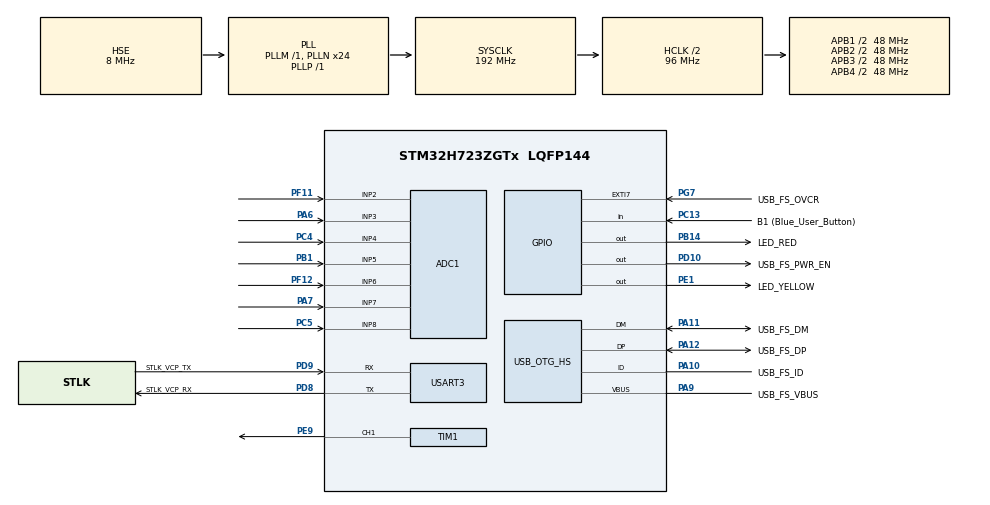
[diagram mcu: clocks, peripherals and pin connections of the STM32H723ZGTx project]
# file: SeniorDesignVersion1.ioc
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ADC1.Channel-0\#ChannelRegularConversion=ADC_CHANNEL_2
ADC1.NbrOfConversionFlag=1
ADC1.OffsetNumber-0\#ChannelRegularConversion=ADC_OFFSET_NONE
ADC1.OffsetSignedSaturation-0\#ChannelRegularConversion=DISABLE
ADC1.Rank-0\#ChannelRegularConversion=1
ADC1.SamplingTime-0\#ChannelRegularConversion=ADC_SAMPLETIME_1CYCLE_5
ADC1.master=1
Mcu.Family=STM32H7
Mcu.Name=STM32H723ZGTx
Mcu.Package=LQFP144
NVIC.PriorityGroup=NVIC_PRIORITYGROUP_4
PA10.GPIO_Label=USB_FS_ID
PA10.Mode=OTG/Dual-Role-Device-FS
PA10.Signal=USB_OTG_HS_ID
PA11.GPIO_Label=USB_FS_DM
PA11.Mode=OTG/Dual-Role-Device-FS
PA11.Signal=USB_OTG_HS_DM
PA12.GPIO_Label=USB_FS_DP
PA12.Mode=OTG/Dual-Role-Device-FS
PA12.Signal=USB_OTG_HS_DP
PA13(JTMS/SWDIO).GPIO_Label=SWDIO
PA13(JTMS/SWDIO).Mode=Trace_Asynchronous_SW
PA13(JTMS/SWDIO).Signal=DEBUG_JTMS-SWDIO
PA14(JTCK/SWCLK).GPIO_Label=SWCLK
PA14(JTCK/SWCLK).Mode=Trace_Asynchronous_SW
PA14(JTCK/SWCLK).Signal=DEBUG_JTCK-SWCLK
PA6.Signal=ADCx_INP3
PA7.Signal=ADCx_INP7
PA9.GPIO_Label=USB_FS_VBUS
PA9.Mode=Activate_VBUS_FS
PA9.Signal=USB_OTG_HS_VBUS
PB1.Signal=ADCx_INP5
PB14.GPIO_Label=LED_RED
PB14.Signal=GPIO_Output
PB3(JTDO/TRACESWO).GPIO_Label=SWO
PB3(JTDO/TRACESWO).Mode=Trace_Asynchronous_SW
PB3(JTDO/TRACESWO).Signal=DEBUG_JTDO-SWO
PC13.GPIO_Label=B1 (Blue_User_Button)
PC13.Signal=GPIO_Input
PC14-OSC32_IN.Mode=LSE-External-Oscillator
PC14-OSC32_IN.Signal=RCC_OSC32_IN
PC15-OSC32_OUT.Mode=LSE-External-Oscillator
PC15-OSC32_OUT.Signal=RCC_OSC32_OUT
PC4.Signal=ADCx_INP4
PC5.Signal=ADCx_INP8
PD10.GPIO_Label=USB_FS_PWR_EN
PD10.Signal=GPIO_Output
PD8.GPIO_Label=STLK_VCP_RX
PD8.Mode=Asynchronous
PD8.Signal=USART3_TX
PD9.GPIO_Label=STLK_VCP_TX
PD9.Mode=Asynchronous
PD9.Signal=USART3_RX
PE1.GPIO_Label=LED_YELLOW
PE1.Signal=GPIO_Output
PE9.Signal=S_TIM1_CH1
PF11.Mode=IN2-Single-Ended
PF11.Signal=ADC1_INP2
PF12.Mode=IN6-Single-Ended
PF12.Signal=ADC1_INP6
PG7.GPIO_Label=USB_FS_OVCR
PG7.Signal=GPXTI7
PH0-OSC_IN.GPIO_Label=MCO
PH0-OSC_IN.Mode=HSE-External-Oscillator
PH0-OSC_IN.Signal=RCC_OSC_IN
PH1-OSC_OUT.Mode=HSE-External-Oscillator
PH1-OSC_OUT.Signal=RCC_OSC_OUT
ProjectManager.HeapSize=0x200
ProjectManager.StackSize=0x400
ProjectManager.TargetToolchain=STM32CubeIDE
RCC.ADCCLockSelection=RCC_ADCCLKSOURCE_PLL3
RCC.ADCFreq_Value=48000000
RCC.APB1Freq_Value=48000000
RCC.APB2Freq_Value=48000000
RCC.APB3Freq_Value=48000000
RCC.APB4Freq_Value=48000000
RCC.CortexFreq_Value=192000000
RCC.D1PPRE=RCC_APB3_DIV2
RCC.D2PPRE1=RCC_APB1_DIV2
RCC.D2PPRE2=RCC_APB2_DIV2
RCC.D3PPRE=RCC_APB4_DIV2
RCC.DIVM1=1
RCC.DIVM2=1
RCC.DIVM3=1
RCC.DIVN1=24
RCC.DIVN2=19
RCC.DIVN3=24
RCC.DIVP1=1
RCC.DIVQ1=4
RCC.DIVR3=4
RCC.HCLKFreq_Value=96000000
RCC.HPRE=RCC_HCLK_DIV2
RCC.HSE_VALUE=8000000
RCC.PLL3FRACN=0
RCC.PLLFRACN=0
RCC.PLLSourceVirtual=RCC_PLLSOURCE_HSE
RCC.SYSCLKFreq_VALUE=192000000
RCC.SYSCLKSource=RCC_SYSCLKSOURCE_PLLCLK
RCC.USBCLockSelection=RCC_USBCLKSOURCE_HSI48
RCC.USBFreq_Value=48000000
SH.ADCx_INP3.0=ADC1_INP3,IN3-Single-Ended
SH.ADCx_INP4.0=ADC1_INP4,IN4-Single-Ended
SH.ADCx_INP5.0=ADC1_INP5,IN5-Single-Ended
SH.ADCx_INP7.0=ADC1_INP7,IN7-Single-Ended
SH.ADCx_INP8.0=ADC1_INP8,IN8-Single-Ended
SH.S_TIM1_CH1.0=TIM1_CH1,PWM Generation1 CH1
TIM1.AutoReloadPreload=TIM_AUTORELOAD_PRELOAD_ENABLE
TIM1.Channel-PWM\ Generation1\ CH1=TIM_CHANNEL_1
USART3.VirtualMode-Asynchronous=VM_ASYNC
VP_RCC_LSE.Mode=CRS SYNC Source LSE
VP_TIM1_VS_ClockSourceINT.Mode=Internal
board=NUCLEO-H723ZG

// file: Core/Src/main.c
/* USER CODE BEGIN Header */
/**
  ******************************************************************************
  * @file           : main.c
  * @brief          : Main program body
  ******************************************************************************
  * @attention
  *
  * Copyright (c) 2024 STMicroelectronics.
  * All rights reserved.
  *
  * This software is licensed under terms that can be found in the LICENSE file
  * in the root directory of this software component.
  * If no LICENSE file comes with this software, it is provided AS-IS.
  *
  ******************************************************************************
  */
/* USER CODE END Header */
#include "main.h"

/* USER CODE BEGIN Includes */
#include "stm32h7xx_hal.h"
#include <string.h>

/* USER CODE END Includes */

ADC_HandleTypeDef hadc1;

TIM_HandleTypeDef htim1;

UART_HandleTypeDef huart3;

void SystemClock_Config(void);
static void MX_GPIO_Init(void);
static void MX_ADC1_Init(void);
static void MX_TIM1_Init(void);
static void MX_USART3_UART_Init(void);
static void MX_USB_OTG_HS_USB_Init(void);

int main(void)
{

  /* MCU Configuration--------------------------------------------------------*/

  /* Reset of all peripherals, Initializes the Flash interface and the Systick. */
  HAL_Init();

  /* Configure the system clock */
  SystemClock_Config();

  /* Initialize all configured peripherals */

  /* USER CODE BEGIN 2 */
MX_GPIO_Init();
MX_ADC1_Init();
MX_TIM1_Init();
MX_USART3_UART_Init();
MX_USB_OTG_HS_USB_Init();
MX_IWDG_Init();
// Initial PWM settings
htim1.Instance->ARR = initial_period; // Set initial auto-reload value for frequency
htim1.Instance->CCR1 = initial_duty_cycle; // Set initial compare value for duty cycle
htim1.Instance->BDTR = initial_dead_time; // Set initial dead time
  /* USER CODE END 2 */

  /* Infinite loop */
  /* USER CODE BEGIN WHILE */
  while (1)
  {
	  // enable the DC-DC converters and H-bridge, verify voltage
	  power_up_sequence();

	  // pet the watch dog, Perform system checks
	  HAL_IWDG_Refresh(&hiwdg); // must be done more frequently than timeout period or system will reset
	  check_system_parameters();

	  // Start ADC in interrupt mode
	  HAL_ADC_Start_IT(&hadc1);

	  // Start PWM
	  HAL_TIM_PWM_Start(&htim1, TIM_CHANNEL_1);

	  // Measure from ADCs, Adjust PWM, Dead time accordingly
	  HAL_ADC_ConvCpltCallback(ADC_HandleTypeDef* hadc1);

	  // pet the watch dog, Perform system checks
	  HAL_IWDG_Refresh(&hiwdg);
	  check_system_parameters();

	  // End PWM
	  HAL_TIM_PWM_Stop(&htim1, TIM_CHANNEL_1); // This should be ended when the user specifies

	  // Power Down
	  power_down_sequence();

    /* USER CODE END WHILE */

  }
}

/* USER FUNCTIONS BEGIN */

// Verify the voltages are present so the power up sequence can begin
HAL_StatusTypeDef verify_voltage(ADC_HandleTypeDef* hadc, uint32_t ADCChannel, uint32_t ThresholdVoltage)
{
    // Initialize the ADC channel configuration structure to zeros.
    ADC_ChannelConfTypeDef sConfig = {0};

    // Set the desired channel to be measured.
    sConfig.Channel = ADCChannel;

    // Set the rank. If only one channel is being measured, it will be rank 1.
    sConfig.Rank = ADC_REGULAR_RANK_1;

    // Set the sampling time to a very short duration, assuming the voltage signal is stable.
    sConfig.SamplingTime = ADC_SAMPLETIME_1CYCLE_5;

    // Configure the ADC channel with the specified settings.
    HAL_ADC_ConfigChannel(hadc, &sConfig);

    // Start the ADC peripheral.
    HAL_ADC_Start(hadc);

    // Poll the ADC for the conversion result, timeout set to 10ms.
    HAL_StatusTypeDef status = HAL_ADC_PollForConversion(hadc, 10);

    // If the ADC finishes the conversion successfully,
    // check if the value meets the required threshold.
    if (status == HAL_OK)
    {
        // Get the ADC conversion result.
        uint32_t ADCValue = HAL_ADC_GetValue(hadc);

        // Compare the conversion result to the threshold.
        if (ADCValue < ThresholdVoltage)
        {
            // If the result is less than the threshold, update status to HAL_ERROR.
            status = HAL_ERROR;
        }
    }

    // Stop the ADC to save power, especially if not sampling continuously.
    HAL_ADC_Stop(hadc);

    // Return the status which indicates whether the voltage is above the threshold.
    return status;
}

// Enable all DC-DC converters and H-bridge (15V)
void power_up_sequence() {
  // 1. Enable 15V power supply
  HAL_GPIO_WritePin(POWER_SUPPLY_15V_ENABLE_GPIO_Port, POWER_SUPPLY_15V_ENABLE_Pin, GPIO_PIN_SET);

  // 2. Verify 15V is available
  if(verify_voltage(&hadc1, ADC_CHANNEL_15V, VOLTAGE_15V_THRESHOLD) != HAL_OK) { // There is a warning because these are not defined in main.h
	  // Make the RED led blink if the 15V is not present
	  HAL_GPIO_WritePin(LED_RED_GPIO_Port, LED_RED_Pin, GPIO_PIN_SET); // Assuming there is an error LED
	  while(1) {
	      HAL_Delay(1000);
	      HAL_GPIO_TogglePin(LED_RED_GPIO_Port, LED_RED_Pin); // Blink an LED to indicate error
	      // Send an error message over UART
	      char* errorMsg = "Error: 15V supply not present.\r\n";
	      HAL_UART_Transmit(&huart3, (uint8_t*)errorMsg, strlen(errorMsg), HAL_MAX_DELAY);
	  }
  }

  // 3. Enable 3.3V bias voltage
  HAL_GPIO_WritePin(POWER_SUPPLY_3V3_ENABLE_GPIO_Port, POWER_SUPPLY_3V3_ENABLE_Pin, GPIO_PIN_SET);

  // 4. Verify 3.3V is available
  if(verify_voltage(&hadc1, ADC_CHANNEL_3V3, VOLTAGE_3V3_THRESHOLD) != HAL_OK) {
	  // Make the RED led blink if the 3.3V is not present
	  HAL_GPIO_WritePin(LED_RED_GPIO_Port, LED_RED_Pin, GPIO_PIN_SET); // Assuming there is an error LED
	  while(1) {
	      HAL_Delay(1000);
	      HAL_GPIO_TogglePin(LED_RED_GPIO_Port, LED_RED_Pin); // Blink an LED to indicate error
	      // Send an error message over UART
	      char* errorMsg = "Error: 3.3V supply not present.\r\n";
	      HAL_UART_Transmit(&huart3, (uint8_t*)errorMsg, strlen(errorMsg), HAL_MAX_DELAY);
	  }
  }

  // 5. Enable 500V power supply
  HAL_GPIO_WritePin(POWER_SUPPLY_500V_ENABLE_GPIO_Port, POWER_SUPPLY_500V_ENABLE_Pin, GPIO_PIN_SET);

  // 6. Verify 500V is available
  if(verify_voltage(&hadc1, ADC_CHANNEL_500V, VOLTAGE_500V_THRESHOLD) != HAL_OK) {
	  // Make the RED led blink if the 500V is not present
	  HAL_GPIO_WritePin(LED_RED_GPIO_Port, LED_RED_Pin, GPIO_PIN_SET); // Assuming there is an error LED
	  while(1) {
	      HAL_Delay(1000);
	      HAL_GPIO_TogglePin(LED_RED_GPIO_Port, LED_RED_Pin); // Blink an LED to indicate error
	      // Send an error message over UART
	      char* errorMsg = "Error: 500V supply not present.\r\n";
	      HAL_UART_Transmit(&huart3, (uint8_t*)errorMsg, strlen(errorMsg), HAL_MAX_DELAY);
	  }
  }

  // 7. Drive H-bridge
  HAL_GPIO_WritePin(H_BRIDGE_ENABLE_GPIO_Port, H_BRIDGE_ENABLE_Pin, GPIO_PIN_SET);

  // 8. Verify that 1-2kVrms is available
  if(verify_voltage(&hadc1, ADC_CHANNEL_1KV2KV, VOLTAGE_1KV2KV_THRESHOLD) != HAL_OK) {
	  // Make the RED led blink if the 1-2kVrms is not present
	  HAL_GPIO_WritePin(LED_RED_GPIO_Port, LED_RED_Pin, GPIO_PIN_SET); // Assuming there is an error LED
	  while(1) {
	      HAL_Delay(1000);
	      HAL_GPIO_TogglePin(LED_RED_GPIO_Port, LED_RED_Pin); // Blink an LED to indicate error
	      // Send an error message over UART
	      char* errorMsg = "Error: 1-2kVrms supply not present.\r\n";
	      HAL_UART_Transmit(&huart3, (uint8_t*)errorMsg, strlen(errorMsg), HAL_MAX_DELAY);
	  }
  }

  // 9. Done.
}

void power_down_sequence() {
    // 1. Stop driving H-bridge
    HAL_GPIO_WritePin(H_BRIDGE_ENABLE_GPIO_Port, H_BRIDGE_ENABLE_Pin, GPIO_PIN_RESET);

    // 2. Verify if 1-2kVrms is available, if yes send error
    if(verify_voltage(&hadc1, ADC_CHANNEL_1KV2KV, VOLTAGE_1KV2KV_THRESHOLD) == HAL_OK) {
    	// Make the RED led blink if the 1-2kVrms is present
    	HAL_GPIO_WritePin(LED_RED_GPIO_Port, LED_RED_Pin, GPIO_PIN_SET); // Assuming there is an error LED
    	while(1) {
    		HAL_Delay(1000);
    		HAL_GPIO_TogglePin(LED_RED_GPIO_Port, LED_RED_Pin); // Blink an LED to indicate error
    		// Send an error message over UART
    		char* errorMsg = "Error: 1-2kVrms supply is still present.\r\n";
    		HAL_UART_Transmit(&huart3, (uint8_t*)errorMsg, strlen(errorMsg), HAL_MAX_DELAY);
    	}
    }

    // 3. Disable 500V power supply
    HAL_GPIO_WritePin(POWER_SUPPLY_500V_ENABLE_GPIO_Port, POWER_SUPPLY_500V_ENABLE_Pin, GPIO_PIN_RESET);

    // 4. Verify if 500V is available, if yes then send error
    if(verify_voltage(&hadc1, ADC_CHANNEL_500V, VOLTAGE_500V_THRESHOLD) == HAL_OK) {
    	// Make the RED led blink if the 500V is present
    	HAL_GPIO_WritePin(LED_RED_GPIO_Port, LED_RED_Pin, GPIO_PIN_SET); // Assuming there is an error LED
    	while(1) {
    		HAL_Delay(1000);
    	    HAL_GPIO_TogglePin(LED_RED_GPIO_Port, LED_RED_Pin); // Blink an LED to indicate error
    	    // Send an error message over UART
    	    char* errorMsg = "Error: 500V supply is still present.\r\n";
    	    HAL_UART_Transmit(&huart3, (uint8_t*)errorMsg, strlen(errorMsg), HAL_MAX_DELAY);
    	}
    }

    // 5. Disable 3.3V bias voltage
    HAL_GPIO_WritePin(POWER_SUPPLY_3V3_ENABLE_GPIO_Port, POWER_SUPPLY_3V3_ENABLE_Pin, GPIO_PIN_RESET);

    // 6. Verify if 3.3V is present, if yes then send error
    if(verify_voltage(&hadc1, ADC_CHANNEL_3V3, VOLTAGE_3V3_THRESHOLD) == HAL_OK) {
    	// Make the RED led blink if the 3.3V is present
    	HAL_GPIO_WritePin(LED_RED_GPIO_Port, LED_RED_Pin, GPIO_PIN_SET); // Assuming there is an error LED
    	while(1) {
    	 	HAL_Delay(1000);
    	    HAL_GPIO_TogglePin(LED_RED_GPIO_Port, LED_RED_Pin); // Blink an LED to indicate error
    	    // Send an error message over UART
    	    char* errorMsg = "Error: 3.3V supply is still present.\r\n";
    	    HAL_UART_Transmit(&huart3, (uint8_t*)errorMsg, strlen(errorMsg), HAL_MAX_DELAY);
    	}
    }

    // 7. Disable 15V power supply
    HAL_GPIO_WritePin(POWER_SUPPLY_15V_ENABLE_GPIO_Port, POWER_SUPPLY_15V_ENABLE_Pin, GPIO_PIN_RESET);

    // 8. Verify if 15V is present, if yes then send error
    if(verify_voltage(&hadc1, ADC_CHANNEL_15V, VOLTAGE_15V_THRESHOLD) == HAL_OK) {
    	// Make the RED led blink if the 15V is present
    	HAL_GPIO_WritePin(LED_RED_GPIO_Port, LED_RED_Pin, GPIO_PIN_SET); // Assuming there is an error LED
    	while(1) {
    	HAL_Delay(1000);
    	HAL_GPIO_TogglePin(LED_RED_GPIO_Port, LED_RED_Pin); // Blink an LED to indicate error
    	// Send an error message over UART
    	char* errorMsg = "Error: 15V supply is still present.\r\n";
    	HAL_UART_Transmit(&huart3, (uint8_t*)errorMsg, strlen(errorMsg), HAL_MAX_DELAY);
    	}
    }

    // 9. Done
}

// Function to adjust PWM frequency based on delta_f
void adjust_pwm_frequency(uint32_t delta_f)
{
    // Calculate the new period
    uint32_t new_period = htim1.Instance->ARR - delta_f;

    // Make sure the new period value does not exceed the maximum value
    if(new_period > TIM_PERIOD_MAX){
    	new_period = TIM_PERIOD_MAX;
    }

    // Update the timer's auto-reload register to adjust the frequency
    __HAL_TIM_SET_AUTORELOAD(&htim1, new_period);
}

// Function to adjust PWM dead time based on delta_t
void adjust_pwm_deadtime(uint32_t delta_t)
{
    // Update the timer's dead-time register to adjust the dead time
    __HAL_TIM_SET_DEADTIME(&htim1, delta_t);
}

// ADC interrupt callback function
void HAL_ADC_ConvCpltCallback(ADC_HandleTypeDef* hadc)
{
    if(hadc->Instance == ADC1)
    {
        // Read ADC values
        uint32_t bridge_current = HAL_ADC_GetValue(hadc); // Example, actual implementation may vary
        uint32_t plasma_voltage = HAL_ADC_GetValue(hadc); // Example, actual implementation may vary

        // Calculate adjustments
        uint32_t delta_f = K_1 * (bridge_current - previous_bridge_current) / (I_smax - I_smin);
        uint32_t delta_t = K_2 * (V_desired - plasma_voltage);

        // Adjust PWM parameters
        adjust_pwm_frequency(delta_f);
        adjust_pwm_deadtime(delta_t);

        // Start the next ADC conversion
        HAL_ADC_Start_IT(hadc);
    }
}

// initialize watch dog
void MX_IWDG_Init(void) {
    IWDG_HandleTypeDef hiwdg;

    hiwdg.Instance = IWDG;
    hiwdg.Init.Prescaler = IWDG_PRESCALER_64; // Adjust prescaler
    hiwdg.Init.Reload = 4095; // Adjust reload value to get the desired timeout period
    HAL_IWDG_Init(&hiwdg);
}

void check_system_parameters(void) {
    if (!is_voltage_ok() || !is_temperature_ok() || !is_fan_speed_ok())
    {
        // Handle error
        error_handler();
    }
}

/* USER FUNCTIONS END */

void SystemClock_Config(void)
{
  RCC_OscInitTypeDef RCC_OscInitStruct = {0};
  RCC_ClkInitTypeDef RCC_ClkInitStruct = {0};
  RCC_CRSInitTypeDef RCC_CRSInitStruct = {0};

  /** Supply configuration update enable
  */
  HAL_PWREx_ConfigSupply(PWR_LDO_SUPPLY);

  /** Configure the main internal regulator output voltage
  */
  __HAL_PWR_VOLTAGESCALING_CONFIG(PWR_REGULATOR_VOLTAGE_SCALE2);

  while(!__HAL_PWR_GET_FLAG(PWR_FLAG_VOSRDY)) {}

  /** Configure LSE Drive Capability
  */
  HAL_PWR_EnableBkUpAccess();
  __HAL_RCC_LSEDRIVE_CONFIG(RCC_LSEDRIVE_LOW);

  /** Initializes the RCC Oscillators according to the specified parameters
  * in the RCC_OscInitTypeDef structure.
  */
  RCC_OscInitStruct.OscillatorType = RCC_OSCILLATORTYPE_HSI48|RCC_OSCILLATORTYPE_HSE
                              |RCC_OSCILLATORTYPE_LSE;
  RCC_OscInitStruct.HSEState = RCC_HSE_ON;
  RCC_OscInitStruct.LSEState = RCC_LSE_ON;
  RCC_OscInitStruct.HSI48State = RCC_HSI48_ON;
  RCC_OscInitStruct.PLL.PLLState = RCC_PLL_ON;
  RCC_OscInitStruct.PLL.PLLSource = RCC_PLLSOURCE_HSE;
  RCC_OscInitStruct.PLL.PLLM = 1;
  RCC_OscInitStruct.PLL.PLLN = 24;
  RCC_OscInitStruct.PLL.PLLP = 1;
  RCC_OscInitStruct.PLL.PLLQ = 4;
  RCC_OscInitStruct.PLL.PLLR = 2;
  RCC_OscInitStruct.PLL.PLLRGE = RCC_PLL1VCIRANGE_3;
  RCC_OscInitStruct.PLL.PLLVCOSEL = RCC_PLL1VCOWIDE;
  RCC_OscInitStruct.PLL.PLLFRACN = 0;
  if (HAL_RCC_OscConfig(&RCC_OscInitStruct) != HAL_OK)
  {
    Error_Handler();
  }

  /** Initializes the CPU, AHB and APB buses clocks
  */
  RCC_ClkInitStruct.ClockType = RCC_CLOCKTYPE_HCLK|RCC_CLOCKTYPE_SYSCLK
                              |RCC_CLOCKTYPE_PCLK1|RCC_CLOCKTYPE_PCLK2
                              |RCC_CLOCKTYPE_D3PCLK1|RCC_CLOCKTYPE_D1PCLK1;
  RCC_ClkInitStruct.SYSCLKSource = RCC_SYSCLKSOURCE_PLLCLK;
  RCC_ClkInitStruct.SYSCLKDivider = RCC_SYSCLK_DIV1;
  RCC_ClkInitStruct.AHBCLKDivider = RCC_HCLK_DIV2;
  RCC_ClkInitStruct.APB3CLKDivider = RCC_APB3_DIV2;
  RCC_ClkInitStruct.APB1CLKDivider = RCC_APB1_DIV2;
  RCC_ClkInitStruct.APB2CLKDivider = RCC_APB2_DIV2;
  RCC_ClkInitStruct.APB4CLKDivider = RCC_APB4_DIV2;

  if (HAL_RCC_ClockConfig(&RCC_ClkInitStruct, FLASH_LATENCY_1) != HAL_OK)
  {
    Error_Handler();
  }

  /** Enable the SYSCFG APB clock
  */
  __HAL_RCC_CRS_CLK_ENABLE();

  /** Configures CRS
  */
  RCC_CRSInitStruct.Prescaler = RCC_CRS_SYNC_DIV1;
  RCC_CRSInitStruct.Source = RCC_CRS_SYNC_SOURCE_LSE;
  RCC_CRSInitStruct.Polarity = RCC_CRS_SYNC_POLARITY_RISING;
  RCC_CRSInitStruct.ReloadValue = __HAL_RCC_CRS_RELOADVALUE_CALCULATE(48000000,32768);
  RCC_CRSInitStruct.ErrorLimitValue = 34;
  RCC_CRSInitStruct.HSI48CalibrationValue = 32;

  HAL_RCCEx_CRSConfig(&RCC_CRSInitStruct);
}

static void MX_ADC1_Init(void)
{

  ADC_MultiModeTypeDef multimode = {0};
  ADC_ChannelConfTypeDef sConfig = {0};

  /** Common config
  */
  hadc1.Instance = ADC1;
  hadc1.Init.ClockPrescaler = ADC_CLOCK_ASYNC_DIV1;
  hadc1.Init.Resolution = ADC_RESOLUTION_16B;
  hadc1.Init.ScanConvMode = ADC_SCAN_DISABLE;
  hadc1.Init.EOCSelection = ADC_EOC_SINGLE_CONV;
  hadc1.Init.LowPowerAutoWait = DISABLE;
  hadc1.Init.ContinuousConvMode = DISABLE;
  hadc1.Init.NbrOfConversion = 1;
  hadc1.Init.DiscontinuousConvMode = DISABLE;
  hadc1.Init.ExternalTrigConv = ADC_SOFTWARE_START;
  hadc1.Init.ExternalTrigConvEdge = ADC_EXTERNALTRIGCONVEDGE_NONE;
  hadc1.Init.ConversionDataManagement = ADC_CONVERSIONDATA_DR;
  hadc1.Init.Overrun = ADC_OVR_DATA_PRESERVED;
  hadc1.Init.LeftBitShift = ADC_LEFTBITSHIFT_NONE;
  hadc1.Init.OversamplingMode = DISABLE;
  if (HAL_ADC_Init(&hadc1) != HAL_OK)
  {
    Error_Handler();
  }

  /** Configure the ADC multi-mode
  */
  multimode.Mode = ADC_MODE_INDEPENDENT;
  if (HAL_ADCEx_MultiModeConfigChannel(&hadc1, &multimode) != HAL_OK)
  {
    Error_Handler();
  }

  /** Configure Regular Channel
  */
  sConfig.Channel = ADC_CHANNEL_2;
  sConfig.Rank = ADC_REGULAR_RANK_1;
  sConfig.SamplingTime = ADC_SAMPLETIME_1CYCLE_5;
  sConfig.SingleDiff = ADC_SINGLE_ENDED;
  sConfig.OffsetNumber = ADC_OFFSET_NONE;
  sConfig.Offset = 0;
  sConfig.OffsetSignedSaturation = DISABLE;
  if (HAL_ADC_ConfigChannel(&hadc1, &sConfig) != HAL_OK)
  {
    Error_Handler();
  }

}

static void MX_TIM1_Init(void)
{

  TIM_ClockConfigTypeDef sClockSourceConfig = {0};
  TIM_MasterConfigTypeDef sMasterConfig = {0};
  TIM_OC_InitTypeDef sConfigOC = {0};
  TIM_BreakDeadTimeConfigTypeDef sBreakDeadTimeConfig = {0};

  htim1.Instance = TIM1;
  htim1.Init.Prescaler = 0;
  htim1.Init.CounterMode = TIM_COUNTERMODE_UP;
  htim1.Init.Period = 65535;
  htim1.Init.ClockDivision = TIM_CLOCKDIVISION_DIV1;
  htim1.Init.RepetitionCounter = 0;
  htim1.Init.AutoReloadPreload = TIM_AUTORELOAD_PRELOAD_ENABLE;
  if (HAL_TIM_Base_Init(&htim1) != HAL_OK)
  {
    Error_Handler();
  }
  sClockSourceConfig.ClockSource = TIM_CLOCKSOURCE_INTERNAL;
  if (HAL_TIM_ConfigClockSource(&htim1, &sClockSourceConfig) != HAL_OK)
  {
    Error_Handler();
  }
  if (HAL_TIM_PWM_Init(&htim1) != HAL_OK)
  {
    Error_Handler();
  }
  sMasterConfig.MasterOutputTrigger = TIM_TRGO_RESET;
  sMasterConfig.MasterOutputTrigger2 = TIM_TRGO2_RESET;
  sMasterConfig.MasterSlaveMode = TIM_MASTERSLAVEMODE_DISABLE;
  if (HAL_TIMEx_MasterConfigSynchronization(&htim1, &sMasterConfig) != HAL_OK)
  {
    Error_Handler();
  }
  sConfigOC.OCMode = TIM_OCMODE_PWM1;
  sConfigOC.Pulse = 0;
  sConfigOC.OCPolarity = TIM_OCPOLARITY_HIGH;
  sConfigOC.OCNPolarity = TIM_OCNPOLARITY_HIGH;
  sConfigOC.OCFastMode = TIM_OCFAST_DISABLE;
  sConfigOC.OCIdleState = TIM_OCIDLESTATE_RESET;
  sConfigOC.OCNIdleState = TIM_OCNIDLESTATE_RESET;
  if (HAL_TIM_PWM_ConfigChannel(&htim1, &sConfigOC, TIM_CHANNEL_1) != HAL_OK)
  {
    Error_Handler();
  }
  sBreakDeadTimeConfig.OffStateRunMode = TIM_OSSR_DISABLE;
  sBreakDeadTimeConfig.OffStateIDLEMode = TIM_OSSI_DISABLE;
  sBreakDeadTimeConfig.LockLevel = TIM_LOCKLEVEL_OFF;
  sBreakDeadTimeConfig.DeadTime = 0;
  sBreakDeadTimeConfig.BreakState = TIM_BREAK_DISABLE;
  sBreakDeadTimeConfig.BreakPolarity = TIM_BREAKPOLARITY_HIGH;
  sBreakDeadTimeConfig.BreakFilter = 0;
  sBreakDeadTimeConfig.Break2State = TIM_BREAK2_DISABLE;
  sBreakDeadTimeConfig.Break2Polarity = TIM_BREAK2POLARITY_HIGH;
  sBreakDeadTimeConfig.Break2Filter = 0;
  sBreakDeadTimeConfig.AutomaticOutput = TIM_AUTOMATICOUTPUT_DISABLE;
  if (HAL_TIMEx_ConfigBreakDeadTime(&htim1, &sBreakDeadTimeConfig) != HAL_OK)
  {
    Error_Handler();
  }
  HAL_TIM_MspPostInit(&htim1);

}

static void MX_USART3_UART_Init(void)
{

  huart3.Instance = USART3;
  huart3.Init.BaudRate = 115200;
  huart3.Init.WordLength = UART_WORDLENGTH_8B;
  huart3.Init.StopBits = UART_STOPBITS_1;
  huart3.Init.Parity = UART_PARITY_NONE;
  huart3.Init.Mode = UART_MODE_TX_RX;
  huart3.Init.HwFlowCtl = UART_HWCONTROL_NONE;
  huart3.Init.OverSampling = UART_OVERSAMPLING_16;
  huart3.Init.OneBitSampling = UART_ONE_BIT_SAMPLE_DISABLE;
  huart3.Init.ClockPrescaler = UART_PRESCALER_DIV1;
  huart3.AdvancedInit.AdvFeatureInit = UART_ADVFEATURE_NO_INIT;
  if (HAL_UART_Init(&huart3) != HAL_OK)
  {
    Error_Handler();
  }
  if (HAL_UARTEx_SetTxFifoThreshold(&huart3, UART_TXFIFO_THRESHOLD_1_8) != HAL_OK)
  {
    Error_Handler();
  }
  if (HAL_UARTEx_SetRxFifoThreshold(&huart3, UART_RXFIFO_THRESHOLD_1_8) != HAL_OK)
  {
    Error_Handler();
  }
  if (HAL_UARTEx_DisableFifoMode(&huart3) != HAL_OK)
  {
    Error_Handler();
  }

}

static void MX_USB_OTG_HS_USB_Init(void)
{

}

static void MX_GPIO_Init(void)
{
  GPIO_InitTypeDef GPIO_InitStruct = {0};

  /* GPIO Ports Clock Enable */
  __HAL_RCC_GPIOC_CLK_ENABLE();
  __HAL_RCC_GPIOH_CLK_ENABLE();
  __HAL_RCC_GPIOA_CLK_ENABLE();
  __HAL_RCC_GPIOB_CLK_ENABLE();
  __HAL_RCC_GPIOF_CLK_ENABLE();
  __HAL_RCC_GPIOE_CLK_ENABLE();
  __HAL_RCC_GPIOD_CLK_ENABLE();
  __HAL_RCC_GPIOG_CLK_ENABLE();

  /*Configure GPIO pin Output Level */
  HAL_GPIO_WritePin(LED_RED_GPIO_Port, LED_RED_Pin, GPIO_PIN_RESET);

  /*Configure GPIO pin Output Level */
  HAL_GPIO_WritePin(USB_FS_PWR_EN_GPIO_Port, USB_FS_PWR_EN_Pin, GPIO_PIN_RESET);

  /*Configure GPIO pin Output Level */
  HAL_GPIO_WritePin(LED_YELLOW_GPIO_Port, LED_YELLOW_Pin, GPIO_PIN_RESET);

  /*Configure GPIO pin : B1_Pin */
  GPIO_InitStruct.Pin = B1_Pin;
  GPIO_InitStruct.Mode = GPIO_MODE_INPUT;
  GPIO_InitStruct.Pull = GPIO_NOPULL;
  HAL_GPIO_Init(B1_GPIO_Port, &GPIO_InitStruct);

  /*Configure GPIO pin : LED_RED_Pin */
  GPIO_InitStruct.Pin = LED_RED_Pin;
  GPIO_InitStruct.Mode = GPIO_MODE_OUTPUT_PP;
  GPIO_InitStruct.Pull = GPIO_NOPULL;
  GPIO_InitStruct.Speed = GPIO_SPEED_FREQ_LOW;
  HAL_GPIO_Init(LED_RED_GPIO_Port, &GPIO_InitStruct);

  /*Configure GPIO pin : USB_FS_PWR_EN_Pin */
  GPIO_InitStruct.Pin = USB_FS_PWR_EN_Pin;
  GPIO_InitStruct.Mode = GPIO_MODE_OUTPUT_PP;
  GPIO_InitStruct.Pull = GPIO_NOPULL;
  GPIO_InitStruct.Speed = GPIO_SPEED_FREQ_LOW;
  HAL_GPIO_Init(USB_FS_PWR_EN_GPIO_Port, &GPIO_InitStruct);

  /*Configure GPIO pin : USB_FS_OVCR_Pin */
  GPIO_InitStruct.Pin = USB_FS_OVCR_Pin;
  GPIO_InitStruct.Mode = GPIO_MODE_IT_RISING;
  GPIO_InitStruct.Pull = GPIO_NOPULL;
  HAL_GPIO_Init(USB_FS_OVCR_GPIO_Port, &GPIO_InitStruct);

  /*Configure GPIO pin : USB_FS_VBUS_Pin */
  GPIO_InitStruct.Pin = USB_FS_VBUS_Pin;
  GPIO_InitStruct.Mode = GPIO_MODE_INPUT;
  GPIO_InitStruct.Pull = GPIO_NOPULL;
  HAL_GPIO_Init(USB_FS_VBUS_GPIO_Port, &GPIO_InitStruct);

  /*Configure GPIO pin : USB_FS_ID_Pin */
  GPIO_InitStruct.Pin = USB_FS_ID_Pin;
  GPIO_InitStruct.Mode = GPIO_MODE_AF_PP;
  GPIO_InitStruct.Pull = GPIO_NOPULL;
  GPIO_InitStruct.Speed = GPIO_SPEED_FREQ_LOW;
  GPIO_InitStruct.Alternate = GPIO_AF10_OTG1_HS;
  HAL_GPIO_Init(USB_FS_ID_GPIO_Port, &GPIO_InitStruct);

  /*Configure GPIO pin : LED_YELLOW_Pin */
  GPIO_InitStruct.Pin = LED_YELLOW_Pin;
  GPIO_InitStruct.Mode = GPIO_MODE_OUTPUT_PP;
  GPIO_InitStruct.Pull = GPIO_NOPULL;
  GPIO_InitStruct.Speed = GPIO_SPEED_FREQ_LOW;
  HAL_GPIO_Init(LED_YELLOW_GPIO_Port, &GPIO_InitStruct);

}

void Error_Handler(void)
{
  __disable_irq();
  while (1)
  {
  }
}
